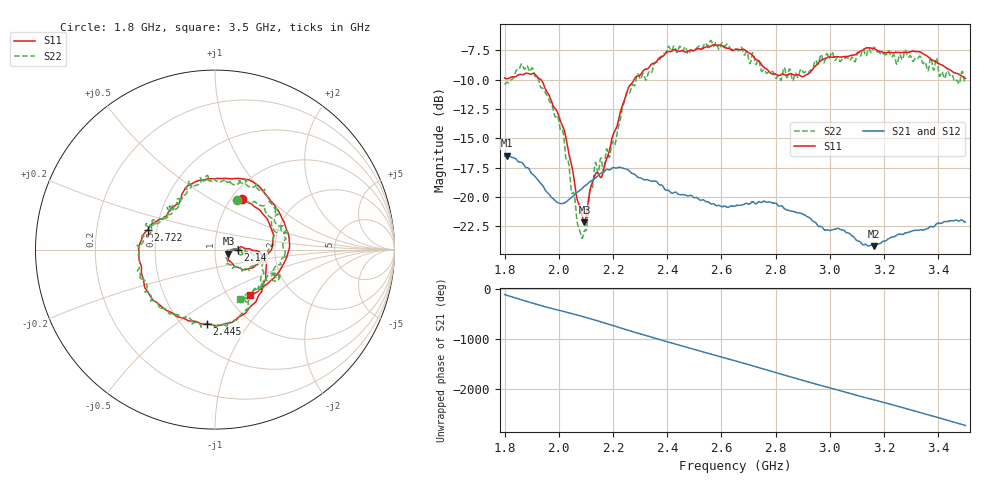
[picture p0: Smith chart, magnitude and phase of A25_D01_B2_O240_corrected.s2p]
! Created with skrf 1.9.0 (http://scikit-rf.org).
# Hz S RI R 50.0
!freq ReS11 ImS11 ReS21 ImS21 ReS12 ImS12 ReS22 ImS22
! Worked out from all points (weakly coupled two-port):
!   1601 points, 1.8 GHz to 3.5 GHz, reference 50 ohm
!   highest |S21| = -16.49 dB at 1.808 GHz (marker M1); lowest = -24.2 dB at 3.161 GHz (marker M2)
!   lowest |S11| = -22.1 dB at 2.094 GHz (marker M3), VSWR 1.17, Z = 58 - j2.56 ohm
!   |S11| at or under -10 dB: 1.934 GHz to 2.278 GHz (343.9 MHz wide, 16.3 % of centre)
!   |S22| runs from -23.5 to -6.7 dB; largest |S21 - S12| = 0.0028
!   S11 on the Smith chart (normalised r, x): 1.8 GHz: 1.12, +0.71; 2.14 GHz: 1.29, -0.01; 2.445 GHz: 0.65, -0.66; 2.722 GHz: 0.45, +0.12; 3.5 GHz: 1.25, -0.71
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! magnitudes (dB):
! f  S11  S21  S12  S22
! 1.8 GHz  -9.9  -16.5  -16.5  -10.4
! 1.808 GHz  -9.9  -16.5  -16.5  -10.2
! 1.883 GHz  -9.4  -17.5  -17.5  -8.8
! 1.967 GHz  -11.5  -19.8  -19.9  -11.9
! 2.014 GHz  -13.9  -20.6  -20.6  -14.3
! 2.084 GHz  -21.3  -19.3  -19.3  -23.4
! 2.094 GHz  -22.1  -19.1  -19.1  -22.9
! 2.14 GHz  -17.9  -18.3  -18.3  -17.4
! 2.16 GHz  -18.1  -17.9  -17.9  -17.3
! 2.208 GHz  -14.3  -17.5  -17.5  -15.5
! 2.259 GHz  -10.6  -17.7  -17.8  -11.2
! 2.367 GHz  -8.2  -18.9  -18.8  -8.4
! 2.445 GHz  -7.6  -19.8  -19.8  -7.2
! 2.65 GHz  -7.4  -20.8  -20.7  -7.4
! 2.722 GHz  -8.2  -20.5  -20.5  -8.3
! 2.813 GHz  -9.6  -20.8  -20.7  -9.7
! 2.934 GHz  -9.2  -22.0  -22.0  -9.2
! 2.967 GHz  -8.4  -22.5  -22.6  -7.9
! 3.161 GHz  -7.3  -24.2  -24.1  -7.3
! 3.217 GHz  -7.7  -23.5  -23.5  -7.5
! 3.331 GHz  -7.6  -22.8  -22.8  -8.0
! 3.5 GHz  -9.9  -22.1  -22.1  -10.2
